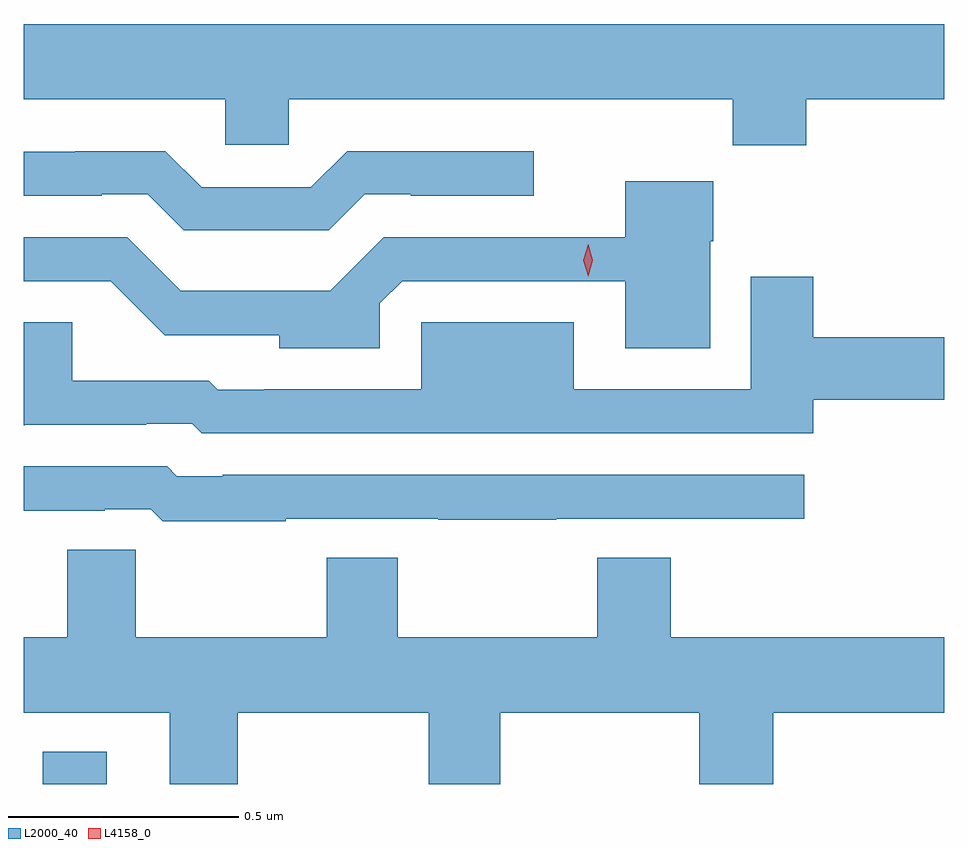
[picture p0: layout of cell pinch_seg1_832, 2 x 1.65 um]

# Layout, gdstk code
import gdstk
lib = gdstk.Library(unit=1e-6, precision=1e-09)
def R(c, l, rs):  # rectangles x0, y0, x1, y1
    for r in rs: c.add(gdstk.rectangle(r[:2], r[2:], *l))
def P(c, l, *ps):  # polygons
    for p in ps: c.add(gdstk.Polygon(p, *l))
L2000_40 = (2000, 40)
L4158_0 = (4158, 0)

pinch_seg1_832 = lib.new_cell('pinch_seg1_832')
R(pinch_seg1_832, L2000_40, [(390.041,567.561,390.181,567.631)])
P(pinch_seg1_832, L2000_40, [(391.7,569.048),(392,569.048),(392,569.212),(390,569.212),(390,569.048),(390.438,569.048),(390.438,568.95),(390.576,568.95),(390.576,569.048),(391.54,569.048),(391.54,568.949),(391.7,568.949)],
  [(390.741,568.842),(390.841,568.842),(390.841,568.839),(391.108,568.839),(391.108,568.936),(390.703,568.936),(390.624,568.857),(390.387,568.857),(390.308,568.936),(390.112,568.936),(390.112,568.935),(390,568.935),(390,568.839),(390.17,568.839),(390.17,568.842),(390.27,568.842),(390.348,568.764),(390.663,568.764)],
  [(390.774,568.605),(390.822,568.653),(391.307,568.653),(391.307,568.508),(391.492,568.508),(391.492,568.74),(391.498,568.74),(391.498,568.87),(391.307,568.87),(391.307,568.749),(390.782,568.749),(390.666,568.633),(390.341,568.633),(390.225,568.749),(390,568.749),(390,568.653),(390.189,568.653),(390.306,568.536),(390.555,568.536),(390.555,568.508),(390.774,568.508)],
  [(391.715,568.396),(392,568.396),(392,568.532),(391.715,568.532),(391.715,568.663),(391.58,568.663),(391.58,568.419),(391.195,568.419),(391.195,568.564),(390.864,568.564),(390.864,568.419),(390.523,568.419),(390.523,568.417),(390.422,568.417),(390.402,568.437),(390.106,568.437),(390.106,568.564),(390,568.564),(390,568.34),(390.002,568.34),(390.002,568.341),(390.266,568.341),(390.266,568.344),(390.366,568.344),(390.387,568.323),(391.715,568.323)],
  [(390.569,568.137),(390.901,568.137),(390.901,568.135),(391.157,568.135),(391.157,568.137),(391.696,568.137),(391.696,568.233),(390.433,568.233),(390.433,568.23),(390.333,568.23),(390.312,568.251),(390,568.251),(390,568.155),(390.176,568.155),(390.176,568.158),(390.276,568.158),(390.302,568.132),(390.569,568.132)],
  [(390.465,567.716),(390.88,567.716),(390.88,567.561),(391.035,567.561),(391.035,567.716),(391.468,567.716),(391.468,567.561),(391.628,567.561),(391.628,567.716),(392,567.716),(392,567.88),(391.406,567.88),(391.406,568.052),(391.246,568.052),(391.246,567.88),(390.813,567.88),(390.813,568.052),(390.658,568.052),(390.658,567.88),(390.243,567.88),(390.243,568.07),(390.095,568.07),(390.095,567.88),(390,567.88),(390,567.716),(390.317,567.716),(390.317,567.561),(390.465,567.561)])
P(pinch_seg1_832, L4158_0, [(391.226,568.664),(391.226,568.664),(391.216,568.699),(391.227,568.734),(391.227,568.734),(391.227,568.734),(391.236,568.699),(391.226,568.664)])

lib.write_gds('pinch_seg1_832.gds')
